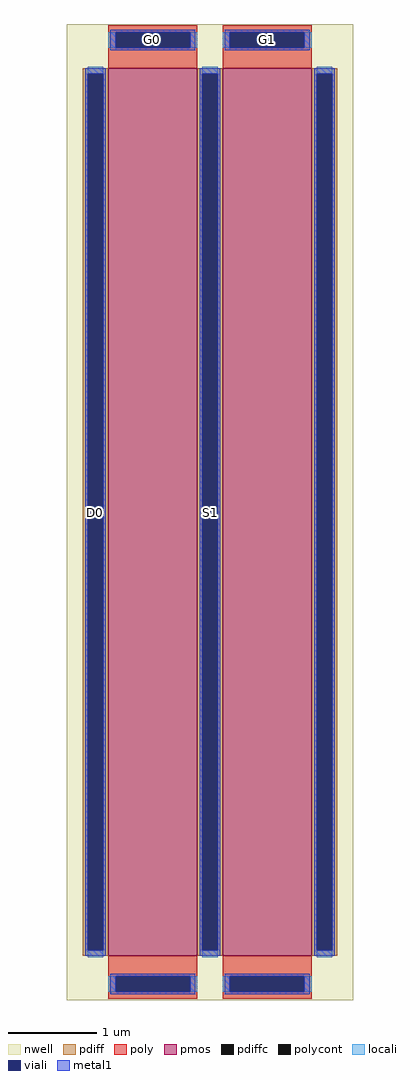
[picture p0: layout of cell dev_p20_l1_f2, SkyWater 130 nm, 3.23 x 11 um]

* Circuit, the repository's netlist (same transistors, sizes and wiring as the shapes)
* NGSPICE file created from dev_p20_l1_f2.ext - technology: sky130A

.subckt dev_p20_l1_f2 D0 G0 S1 G1
X0 a_229_n1000# G1 S1 w_n323_n1100# sky130_fd_pr__pfet_01v8 ad=2.9 pd=20.58 as=1.45 ps=10.29 w=10 l=1
X1 S1 G0 D0 w_n323_n1100# sky130_fd_pr__pfet_01v8 ad=1.45 pd=10.29 as=2.9 ps=20.58 w=10 l=1
.ends

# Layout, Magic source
magic
tech sky130A
magscale 1 2
<< nwell >>
rect -323 -1100 323 1100
<< pmos >>
rect -229 -1000 -29 1000
rect 29 -1000 229 1000
<< pdiff >>
rect -287 988 -229 1000
rect -287 -988 -275 988
rect -241 -988 -229 988
rect -287 -1000 -229 -988
rect -29 988 29 1000
rect -29 -988 -17 988
rect 17 -988 29 988
rect -29 -1000 29 -988
rect 229 988 287 1000
rect 229 -988 241 988
rect 275 -988 287 988
rect 229 -1000 287 -988
<< pdiffc >>
rect -275 -988 -241 988
rect -17 -988 17 988
rect 241 -988 275 988
<< poly >>
rect -229 1081 -29 1097
rect -229 1047 -213 1081
rect -45 1047 -29 1081
rect -229 1000 -29 1047
rect 29 1081 229 1097
rect 29 1047 45 1081
rect 213 1047 229 1081
rect 29 1000 229 1047
rect -229 -1047 -29 -1000
rect -229 -1081 -213 -1047
rect -45 -1081 -29 -1047
rect -229 -1097 -29 -1081
rect 29 -1047 229 -1000
rect 29 -1081 45 -1047
rect 213 -1081 229 -1047
rect 29 -1097 229 -1081
<< polycont >>
rect -213 1047 -45 1081
rect 45 1047 213 1081
rect -213 -1081 -45 -1047
rect 45 -1081 213 -1047
<< locali >>
rect -229 1047 -213 1081
rect -45 1047 -29 1081
rect 29 1047 45 1081
rect 213 1047 229 1081
rect -275 988 -241 1004
rect -275 -1004 -241 -988
rect -17 988 17 1004
rect -17 -1004 17 -988
rect 241 988 275 1004
rect 241 -1004 275 -988
rect -229 -1081 -213 -1047
rect -45 -1081 -29 -1047
rect 29 -1081 45 -1047
rect 213 -1081 229 -1047
<< viali >>
rect -213 1047 -45 1081
rect 45 1047 213 1081
rect -275 -988 -241 988
rect -17 -988 17 988
rect 241 -988 275 988
rect -213 -1081 -45 -1047
rect 45 -1081 213 -1047
<< metal1 >>
rect -225 1081 -33 1087
rect -225 1047 -213 1081
rect -45 1047 -33 1081
rect -225 1041 -33 1047
rect 33 1081 225 1087
rect 33 1047 45 1081
rect 213 1047 225 1081
rect 33 1041 225 1047
rect -281 988 -235 1000
rect -281 -988 -275 988
rect -241 -988 -235 988
rect -281 -1000 -235 -988
rect -23 988 23 1000
rect -23 -988 -17 988
rect 17 -988 23 988
rect -23 -1000 23 -988
rect 235 988 281 1000
rect 235 -988 241 988
rect 275 -988 281 988
rect 235 -1000 281 -988
rect -225 -1047 -33 -1041
rect -225 -1081 -213 -1047
rect -45 -1081 -33 -1047
rect -225 -1087 -33 -1081
rect 33 -1047 225 -1041
rect 33 -1081 45 -1047
rect 213 -1081 225 -1047
rect 33 -1087 225 -1081
<< labels >>
rlabel pdiffc -258 0 -258 0 0 D0
port 1 nsew
rlabel polycont -129 1064 -129 1064 0 G0
port 2 nsew
rlabel pdiffc 0 0 0 0 0 S1
port 3 nsew
rlabel polycont 129 1064 129 1064 0 G1
port 4 nsew
<< end >>
